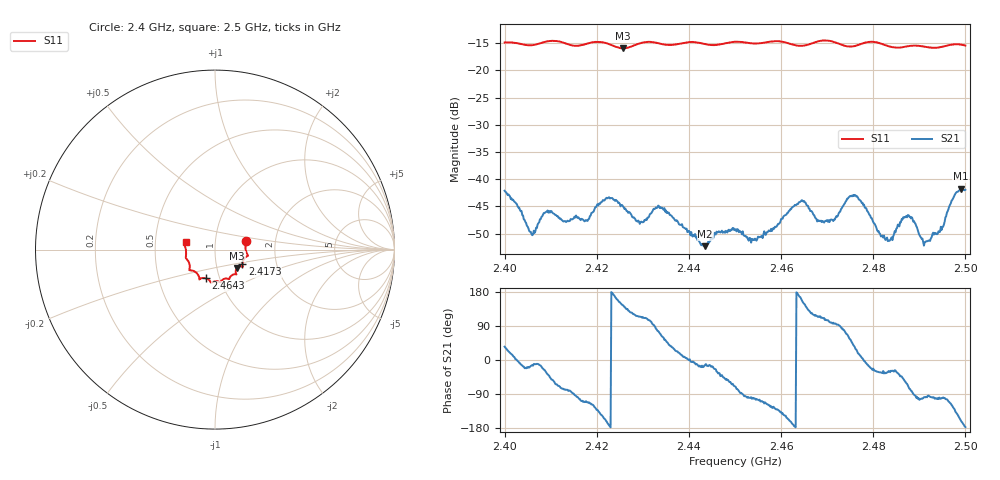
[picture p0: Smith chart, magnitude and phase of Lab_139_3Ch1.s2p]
# Hz S RI R 50
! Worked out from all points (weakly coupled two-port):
!   601 points, 2.4 GHz to 2.5 GHz, reference 50 ohm
!   highest |S21| = -41.75 dB at 2.499 GHz (marker M1); lowest = -52.3 dB at 2.4435 GHz (marker M2)
!   lowest |S11| = -15.9 dB at 2.4257 GHz (marker M3), VSWR 1.38, Z = 62.4 - j13.1 ohm
!   |S11| at or under -10 dB: start of sweep to end of sweep
!   S12 and S22 are empty: the file has one direction only
!   S11 on the Smith chart (normalised r, x): 2.4 GHz: 1.41, +0.14; 2.4173 GHz: 1.34, -0.23; 2.4643 GHz: 0.86, -0.28; 2.5 GHz: 0.72, +0.06
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2.4e9  0.1732 0.0494  0.0064 0.00451  0 0  0 0
2.406e9  0.1703 0.00118  0.00297 -0.000697  0 0  0 0
2.409167e9  0.1822 -0.029  0.00411 -0.00292  0 0  0 0
2.416667e9  0.153 -0.0747  -0.00135 -0.0041  0 0  0 0
2.417333e9  0.1525 -0.0822  -0.00147 -0.00382  0 0  0 0
2.422333e9  0.1493 -0.0941  -0.00649 -0.00155  0 0  0 0
2.425667e9  0.1225 -0.1021  -0.00461 0.00328  0 0  0 0
2.429667e9  0.1176 -0.1347  -0.00163 0.00374  0 0  0 0
2.433333e9  0.113 -0.137  0.00136 0.00556  0 0  0 0
2.4435e9  0.0664 -0.1608  0.00236 -0.000571  0 0  0 0
2.45e9  0.0298 -0.1808  0.0012 -0.00324  0 0  0 0
2.454333e9  0.00755 -0.1764  -0.000586 -0.00278  0 0  0 0
2.464333e9  -0.0504 -0.1603  -0.00599 0.00197  0 0  0 0
2.466667e9  -0.0762 -0.1596  -0.00281 0.00421  0 0  0 0
2.471e9  -0.087 -0.1631  -0.000631 0.0042  0 0  0 0
2.476167e9  -0.1186 -0.1192  0.00623 0.00338  0 0  0 0
2.483333e9  -0.1408 -0.0893  0.00238 -0.00133  0 0  0 0
2.4875e9  -0.158 -0.0534  0.00185 -0.0043  0 0  0 0
2.492e9  -0.1608 -0.0253  -0.000179 -0.00273  0 0  0 0
2.494833e9  -0.164 0.00825  -0.000611 -0.00337  0 0  0 0
2.499e9  -0.1687 0.0362  -0.00764 -0.0029  0 0  0 0
2.5e9  -0.1637 0.0422  -0.00799 -0.000421  0 0  0 0
